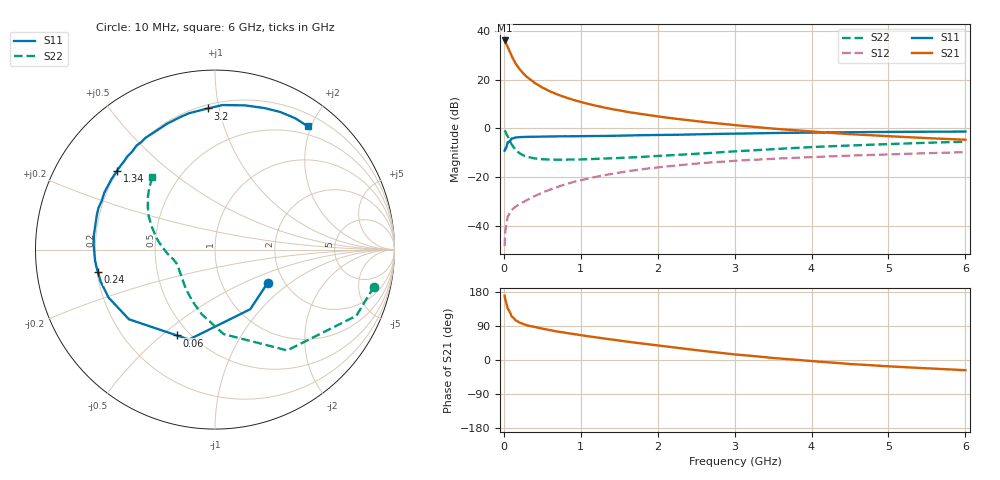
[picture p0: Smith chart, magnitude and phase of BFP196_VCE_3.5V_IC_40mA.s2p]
! Infineon Technologies  Discrete & RF Semiconductors
! BFP196
! VCE = 3.5 V,  IC =  40mA
! Common Emitter S-Parameters:  Jan 2016
# GHz  S  MA  R  50
!  f  S11  S21  S12  S22
! GHz  MAG  ANG  MAG  ANG  MAG  ANG  MAG  ANG
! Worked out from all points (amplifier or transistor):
!   210 points, 10 MHz to 6 GHz, reference 50 ohm
!   highest |S21| = 36.1 dB at 10 MHz (marker M1)
!   |S21| within 3 dB of that: start of sweep to 55.67 MHz
!   unconditionally stable (mu >= 1): 494.1 MHz to 4.394 GHz
!   at 185 MHz: K = 0.66, MSG = 28.4 dB, |S12| = -31.5 dB
!   at 1.52 GHz: K = 1.09, MAG = 10.9 dB, |S12| = -18.1 dB
!   at 6 GHz: K = 0.97, MSG = 2.6 dB, |S12| = -9.8 dB
!   S11 on the Smith chart (normalised r, x): 10 MHz: 1.65, -0.69; 60 MHz: 0.43, -0.56; 240 MHz: 0.20, -0.09; 1.34 GHz: 0.20, +0.34; 3.2 GHz: 0.22, +0.93; 6 GHz: 0.37, +1.95
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0.01  0.347 -32.2  64.08 169.4  0.0038 82.7  0.9096 -13.1
0.02  0.386 -59.4  60.42 158.5  0.0079 73.5  0.8694 -25.1
0.05  0.5216 -106.1  47.48 135.7  0.0153 54.7  0.6909 -54.4
0.06  0.5233 -113.9  43.79 132.9  0.0164 52.8  0.6366 -58.6
0.1  0.6169 -141.0  30.68 115.4  0.0209 47.4  0.4732 -84.2
0.15  0.6504 -155.7  21.81 105.2  0.0245 47.0  0.3671 -101.7
0.2  0.6613 -164.2  16.82 99.0  0.0276 48.7  0.313 -113.9
0.24  0.6647 -169.2  14.17 95.7  0.0299 50.3  0.2862 -121.3
0.26  0.667 -171.3  13.08 94.2  0.0311 51.4  0.2766 -124.6
0.3  0.6711 -174.7  11.36 91.6  0.0335 54.1  0.2631 -129.9
0.4  0.6764 178.0  8.61 86.8  0.0407 56.6  0.2417 -140.0
0.5  0.6798 173.2  6.901 82.6  0.0477 58.6  0.2325 -146.9
0.6  0.6801 168.4  5.758 78.6  0.0551 59.9  0.2284 -151.6
0.7  0.6856 164.0  4.954 74.8  0.063 60.4  0.2275 -155.0
1.02  0.6936 152.0  3.418 64.9  0.0874 59.2  0.2306 -162.5
1.34  0.7006 141.2  2.609 55.7  0.1117 56.2  0.2402 -167.6
2.02  0.7334 121.4  1.744 37.9  0.1594 47.5  0.272 -177.2
3.1  0.7828 94.8  1.13 13.1  0.2202 32.2  0.3436 166.1
3.2  0.7873 92.8  1.093 11.3  0.2244 30.8  0.351 164.5
4.1  0.8224 76.8  0.839 -4.4  0.2607 19.7  0.4202 151.9
5.1  0.8496 63.4  0.678 -17.7  0.2957 8.6  0.4818 140.5
6  0.8597 53.1  0.585 -26.9  0.3243 -1.4  0.5332 130.8
